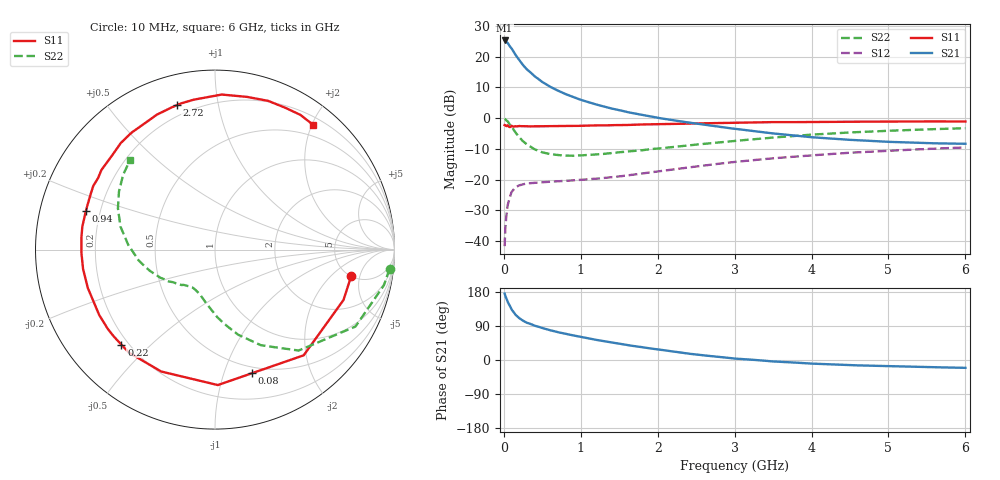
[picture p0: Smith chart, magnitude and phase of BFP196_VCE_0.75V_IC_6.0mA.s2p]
! Infineon Technologies  Discrete & RF Semiconductors
! BFP196
! VCE = 0.75V,  IC = 6.0mA
! Common Emitter S-Parameters:  Jan 2016
# GHz  S  MA  R  50
!  f  S11  S21  S12  S22
! GHz  MAG  ANG  MAG  ANG  MAG  ANG  MAG  ANG
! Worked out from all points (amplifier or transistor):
!   210 points, 10 MHz to 6 GHz, reference 50 ohm
!   highest |S21| = 25.3 dB at 10 MHz (marker M1)
!   |S21| within 3 dB of that: start of sweep to 110.3 MHz
!   unconditionally stable (mu >= 1): 1 GHz to end of sweep
!   at 185 MHz: K = 0.23, MSG = 20.7 dB, |S12| = -22.0 dB
!   at 1.52 GHz: K = 1.21, MAG = 7.9 dB, |S12| = -18.9 dB
!   at 6 GHz: K = 1.05, MAG = -0.7 dB, |S12| = -9.5 dB
!   S11 on the Smith chart (normalised r, x): 10 MHz: 5.07, -3.69; 80 MHz: 0.44, -1.25; 220 MHz: 0.17, -0.41; 940 MHz: 0.15, +0.14; 2.72 GHz: 0.15, +0.76; 6 GHz: 0.32, +2.01
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0.01  0.7732 -10.9  18.41 175.3  0.0083 84.4  0.9784 -6.3
0.02  0.769 -21.4  17.99 168.5  0.0165 79.7  0.962 -11.9
0.05  0.7688 -50.0  16.78 153.2  0.0386 65.3  0.8924 -28.7
0.08  0.7189 -73.3  14.69 142.1  0.0528 53.1  0.781 -40.7
0.1  0.7549 -88.8  13.68 133.1  0.063 48.2  0.7301 -50.4
0.15  0.7424 -113.8  10.8 119.4  0.0749 37.7  0.5906 -64.4
0.2  0.7482 -129.9  8.826 110.3  0.081 31.4  0.4912 -74.8
0.22  0.7431 -134.6  8.197 107.9  0.0823 29.7  0.462 -77.6
0.26  0.7429 -143.5  7.073 102.5  0.085 26.8  0.4113 -83.5
0.3  0.741 -150.5  6.233 98.3  0.087 24.9  0.3758 -88.2
0.4  0.7402 -163.3  4.818 90.6  0.0893 22.3  0.3124 -97.6
0.5  0.7429 -171.6  3.881 84.2  0.0909 21.1  0.2787 -104.3
0.7  0.7471 174.9  2.823 73.4  0.0943 21.3  0.2521 -113.9
0.94  0.7506 163.4  2.123 63.5  0.0983 23.5  0.2466 -122.3
1.02  0.7534 159.8  1.959 60.2  0.0998 24.3  0.2493 -124.5
1.4  0.7728 145.0  1.439 46.4  0.1098 28.4  0.2717 -133.4
2.02  0.8004 124.8  1.007 27.4  0.1371 33.3  0.3225 -148.7
2.72  0.8319 104.9  0.748 9.8  0.1772 32.3  0.396 -165.3
3.1  0.8456 95.9  0.651 2.5  0.2001 29.3  0.4387 -174.3
4.1  0.8702 76.5  0.482 -10.3  0.2539 19.5  0.5495 164.4
5.1  0.8825 62.4  0.409 -16.8  0.3 8.2  0.6314 147.1
6  0.8842 51.9  0.384 -20.7  0.3351 -2.6  0.6884 133.3
